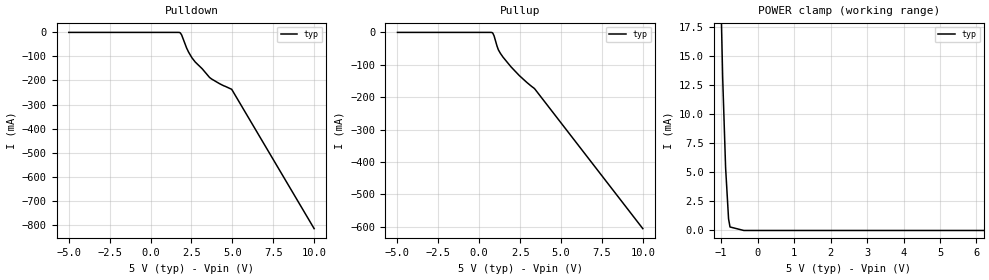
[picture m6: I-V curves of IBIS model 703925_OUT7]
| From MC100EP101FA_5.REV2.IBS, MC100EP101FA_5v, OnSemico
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| (C) COPYRIGHT 1993-2001
| MENTOR GRAPHICS CORPORATION
| ICX STANDARD LIBRARY, ICX PROJECT MODELING,
| ICX CUSTOM MODELING, ICX VENDOR MODEL
| ALL RIGHTS RESERVED.
| THE FOLLOWING ARE TRADEMARKS OR SERVICE MARKS OF
| MENTOR GRAPHICS CORPORATION:ICX (R), ICX STANDARD
| LIBRARY(R), ICX PROJECT MODELING(R), ICX CUSTOM
| MODELING(R), qualityIBIS(TM), MODELVIEWER(TM),
| AND MODELEDITOR(TM)
| ALL COPIES OF SOFTWARE, INCLUDING BUT NOT LIMITED TO
| ANY MODIFICATIONS, ENHANCEMENTS OR DERIVATIVE WORKS,
| MUST CONTAIN ALL MENTOR GRAPHICS CORPORATION'S
| NOTICES AND LEGENDS, INCLUDING THOSE EMBEDDED IN
| SOFTWARE AND THOSE AFFIXED TO SOFTWARE MEDIUM
| AND CONTAINER, AS RECEIVED FROM MENTOR GRAPHICS
| CORPORATION.
| Model Application Version 1.89 2/18/99.
[Model] 703925_OUT7
Model_type Output_ECL
Vref=3.000V
Rref=50.00ohms
Cref=0.000F
Vmeas=3.580V
C_comp 6.000pF NA NA
| variable typ   min   max
[Voltage Range] 5.000V NA NA
[POWER Clamp Reference] 5.000V NA NA
[Pullup Reference] 5.000V NA NA
[Pulldown Reference] 5.000V NA NA
[GND Clamp Reference] 0.000V NA NA
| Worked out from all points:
|   POWER clamp passes 1 mA (typ) near -0.80 V on its own axis
[GND Clamp]
-5V       0A         NA         NA
10V       0A         NA         NA
[Pulldown]
-5V       0A         NA         NA
1.818V    -2.1mA     NA         NA
1.899V    -10.6mA    NA         NA
2.203V    -65mA      NA         NA
2.324V    -82.1mA    NA         NA
2.527V    -105.5mA   NA         NA
2.73V     -123.3mA   NA         NA
3.723V    -193.6mA   NA         NA
4.23V     -213.8mA   NA         NA
4.96V     -236.8mA   NA         NA
10V       -816.4mA   NA         NA
[Pullup]
-5V       0A         NA         NA
703mV     0A         NA         NA
825mV     -2mA       NA         NA
906mV     -10.6mA    NA         NA
1.088V    -42.5mA    NA         NA
1.169V    -53.8mA    NA         NA
1.453V    -76.4mA    NA         NA
1.94V     -106.3mA   NA         NA
2.446V    -133.2mA   NA         NA
3.399V    -174.9mA   NA         NA
10V       -606.3mA   NA         NA
[POWER Clamp]
-5V       592.9mA    NA         NA
-959mV    13.2mA     NA         NA
-878mV    5.4mA      NA         NA
-797mV    1mA        NA         NA
-757mV    300uA      NA         NA
-378.5mV  0A         NA         NA
10V       0A         NA         NA
[Ramp]
| variable typ min max
dV/dt_r 318.6m/236.7p NA NA
dV/dt_f 318.6m/205.8p NA NA
R_load = 50.00Ohms
